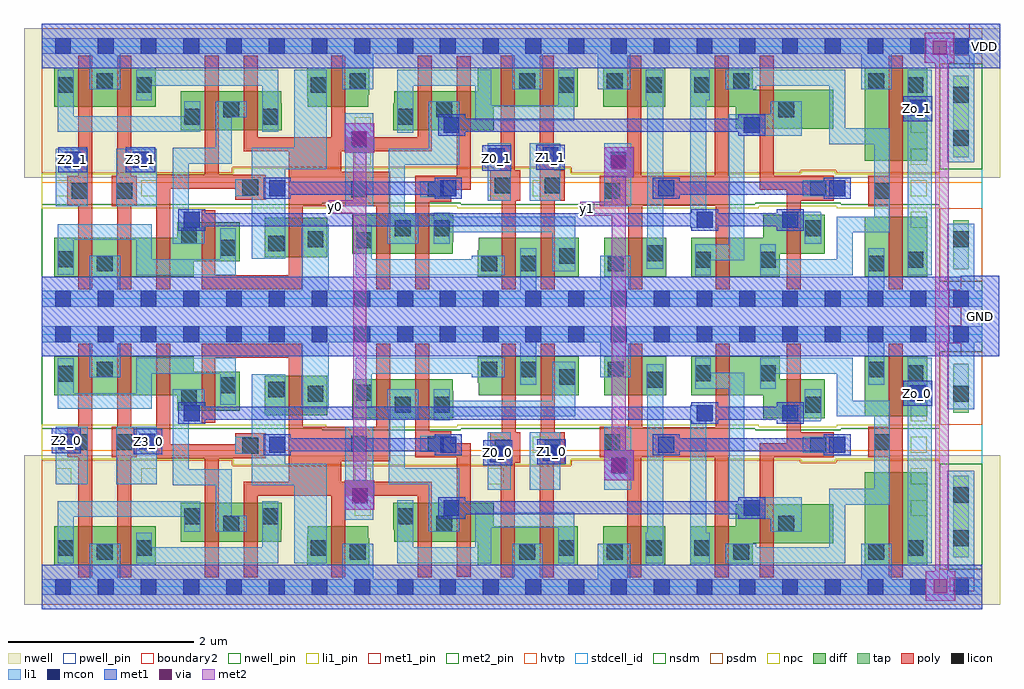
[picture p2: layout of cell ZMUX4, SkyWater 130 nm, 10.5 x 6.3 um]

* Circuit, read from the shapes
.subckt ZMUX4 GND VDD Z0_0 Z0_1 Z1_0 Z1_1 Z2_0 Z2_1 Z3_0 Z3_1 Zo_0 Zo_1 y0 y1
XM1 GND Z2_0 n1 GND sky130_fd_pr__nfet_01v8 w=0.42 l=0.15
XM2 GND Z2_1 n2 GND sky130_fd_pr__nfet_01v8 w=0.42 l=0.15
XM3 n3 Z3_0 GND GND sky130_fd_pr__nfet_01v8 w=0.42 l=0.15
XM4 n4 Z3_1 GND GND sky130_fd_pr__nfet_01v8 w=0.42 l=0.15
XM5 n5 n6 n3 GND sky130_fd_pr__nfet_01v8 w=0.42 l=0.15
XM6 n7 n8 n4 GND sky130_fd_pr__nfet_01v8 w=0.42 l=0.15
XM7 n1 y0 n5 GND sky130_fd_pr__nfet_01v8 w=0.42 l=0.15
XM8 n2 y0 n7 GND sky130_fd_pr__nfet_01v8 w=0.42 l=0.15
XM9 GND y0 n6 GND sky130_fd_pr__nfet_01v8 w=0.42 l=0.15
XM10 GND y0 n8 GND sky130_fd_pr__nfet_01v8 w=0.42 l=0.15
XM11 n9 y0 n10 GND sky130_fd_pr__nfet_01v8 w=0.42 l=0.15
XM12 n11 y0 n12 GND sky130_fd_pr__nfet_01v8 w=0.42 l=0.15
XM13 n13 n6 n9 GND sky130_fd_pr__nfet_01v8 w=0.42 l=0.15
XM14 n14 n8 n11 GND sky130_fd_pr__nfet_01v8 w=0.42 l=0.15
XM15 GND Z0_0 n10 GND sky130_fd_pr__nfet_01v8 w=0.42 l=0.15
XM16 GND Z0_1 n12 GND sky130_fd_pr__nfet_01v8 w=0.42 l=0.15
XM17 n13 Z1_0 GND GND sky130_fd_pr__nfet_01v8 w=0.42 l=0.15
XM18 n14 Z1_1 GND GND sky130_fd_pr__nfet_01v8 w=0.42 l=0.15
XM19 n15 y1 GND GND sky130_fd_pr__nfet_01v8 w=0.42 l=0.15
XM20 n16 y1 GND GND sky130_fd_pr__nfet_01v8 w=0.42 l=0.15
XM21 n17 y1 n9 GND sky130_fd_pr__nfet_01v8 w=0.42 l=0.15
XM22 n18 y1 n11 GND sky130_fd_pr__nfet_01v8 w=0.42 l=0.15
XM23 n5 n15 n17 GND sky130_fd_pr__nfet_01v8 w=0.42 l=0.15
XM24 n7 n16 n18 GND sky130_fd_pr__nfet_01v8 w=0.42 l=0.15
XM25 Zo_0 n17 GND GND sky130_fd_pr__nfet_01v8 w=0.65 l=0.15
XM26 Zo_1 n18 GND GND sky130_fd_pr__nfet_01v8 w=0.65 l=0.15
XM27 VDD Z2_0 n19 VDD sky130_fd_pr__pfet_01v8_hvt w=0.42 l=0.15
XM28 VDD Z2_1 n20 VDD sky130_fd_pr__pfet_01v8_hvt w=0.42 l=0.15
XM29 n21 Z3_0 VDD VDD sky130_fd_pr__pfet_01v8_hvt w=0.42 l=0.15
XM30 n22 Z3_1 VDD VDD sky130_fd_pr__pfet_01v8_hvt w=0.42 l=0.15
XM31 n5 n6 n19 VDD sky130_fd_pr__pfet_01v8_hvt w=0.42 l=0.15
XM32 n7 n8 n20 VDD sky130_fd_pr__pfet_01v8_hvt w=0.42 l=0.15
XM33 n21 y0 n5 VDD sky130_fd_pr__pfet_01v8_hvt w=0.42 l=0.15
XM34 n22 y0 n7 VDD sky130_fd_pr__pfet_01v8_hvt w=0.42 l=0.15
XM35 VDD y0 n6 VDD sky130_fd_pr__pfet_01v8_hvt w=0.42 l=0.15
XM36 VDD y0 n8 VDD sky130_fd_pr__pfet_01v8_hvt w=0.42 l=0.15
XM37 n9 y0 n23 VDD sky130_fd_pr__pfet_01v8_hvt w=0.42 l=0.15
XM38 n11 y0 n24 VDD sky130_fd_pr__pfet_01v8_hvt w=0.42 l=0.15
XM39 n25 n6 n9 VDD sky130_fd_pr__pfet_01v8_hvt w=0.42 l=0.15
XM40 n26 n8 n11 VDD sky130_fd_pr__pfet_01v8_hvt w=0.42 l=0.15
XM41 VDD Z0_0 n25 VDD sky130_fd_pr__pfet_01v8_hvt w=0.42 l=0.15
XM42 VDD Z0_1 n26 VDD sky130_fd_pr__pfet_01v8_hvt w=0.42 l=0.15
XM43 n23 Z1_0 VDD VDD sky130_fd_pr__pfet_01v8_hvt w=0.42 l=0.15
XM44 n24 Z1_1 VDD VDD sky130_fd_pr__pfet_01v8_hvt w=0.42 l=0.15
XM45 n15 y1 VDD VDD sky130_fd_pr__pfet_01v8_hvt w=0.42 l=0.15
XM46 n16 y1 VDD VDD sky130_fd_pr__pfet_01v8_hvt w=0.42 l=0.15
XM47 n17 y1 n5 VDD sky130_fd_pr__pfet_01v8_hvt w=0.42 l=0.15
XM48 n18 y1 n7 VDD sky130_fd_pr__pfet_01v8_hvt w=0.42 l=0.15
XM49 n9 n15 n17 VDD sky130_fd_pr__pfet_01v8_hvt w=0.42 l=0.15
XM50 n11 n16 n18 VDD sky130_fd_pr__pfet_01v8_hvt w=0.42 l=0.15
XM51 Zo_0 n17 VDD VDD sky130_fd_pr__pfet_01v8_hvt w=1 l=0.15
XM52 Zo_1 n18 VDD VDD sky130_fd_pr__pfet_01v8_hvt w=1 l=0.15
.ends

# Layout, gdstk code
import gdstk
lib = gdstk.Library(unit=1e-6, precision=1e-09)
def R(c, l, rs):  # rectangles x0, y0, x1, y1
    for r in rs: c.add(gdstk.rectangle(r[:2], r[2:], *l))
def A(c, l, x, y, w, h, nx, ny, dx, dy):  # array of equal rectangles
    R(c, l, [(x+i*dx, y+j*dy, x+i*dx+w, y+j*dy+h) for i in range(nx) for j in range(ny)])
def P(c, l, *ps):  # polygons
    for p in ps: c.add(gdstk.Polygon(p, *l))
nwell_pin = (64, 16)
nwell = (64, 20)
diff = (65, 20)
tap = (65, 44)
poly = (66, 20)
licon = (66, 44)
li1_pin = (67, 16)
li1 = (67, 20)
mcon = (67, 44)
met1_pin = (68, 16)
met1 = (68, 20)
via = (68, 44)
met2_pin = (69, 16)
met2 = (69, 20)
hvtp = (78, 44)
stdcell_id = (81, 4)
nsdm = (93, 44)
psdm = (94, 20)
npc = (95, 20)
pwell_pin = (122, 16)
boundary2 = (236, 0)

sky130_fd_sc_hd__tapvpwr = lib.new_cell('sky130_fd_sc_hd__tapvpwrvgnd_1')
R(sky130_fd_sc_hd__tapvpwr, nwell, [(-0.19,1.305,0.65,2.91)])
R(sky130_fd_sc_hd__tapvpwr, tap, [(0.145,0.32,0.315,0.845), (0.145,1.525,0.315,2.4)])
R(sky130_fd_sc_hd__tapvpwr, licon, [(0.145,0.555,0.315,0.725), (0.145,1.645,0.315,1.815), (0.145,2.11,0.315,2.28)])
R(sky130_fd_sc_hd__tapvpwr, li1, [(0,-0.085,0.46,0.085), (0.085,0,0.375,0.81), (0.085,1.47,0.375,2.72), (0,2.635,0.46,2.805)])
R(sky130_fd_sc_hd__tapvpwr, mcon, [(0.145,-0.085,0.315,0.085), (0.145,2.635,0.315,2.805)])
R(sky130_fd_sc_hd__tapvpwr, met1_pin, [(0.105,-0.09,0.36,0.1), (0.11,2.62,0.375,2.765)])
R(sky130_fd_sc_hd__tapvpwr, met1, [(0,-0.24,0.46,0.24), (0,2.48,0.46,2.96)])
R(sky130_fd_sc_hd__tapvpwr, hvtp, [(0,1.25,0.46,2.72)])
R(sky130_fd_sc_hd__tapvpwr, stdcell_id, [(0,0,0.46,2.72)])
R(sky130_fd_sc_hd__tapvpwr, nsdm, [(0,-0.19,0.46,0.19), (0,1.395,0.46,2.53)])
R(sky130_fd_sc_hd__tapvpwr, psdm, [(0,0.19,0.46,0.975), (0,2.53,0.46,2.91)])
sky130_fd_sc_hd__tapvpwr.add(gdstk.Label('VPWR', (0.23,2.72), layer=68, texttype=5))
sky130_fd_sc_hd__tapvpwr.add(gdstk.Label('VGND', (0.23,0), layer=68, texttype=5))
sky130_fd_sc_hd__tapvpwr.add(gdstk.Label('tapvpwrvgnd_1', (0,0), layer=83, texttype=44))

sky130_fd_sc_hd__mux4_1 = lib.new_cell('sky130_fd_sc_hd__mux4_1')
R(sky130_fd_sc_hd__mux4_1, nwell_pin, [(0.145,2.635,0.315,2.805)])
R(sky130_fd_sc_hd__mux4_1, nwell, [(-0.19,1.305,9.85,2.91)])
R(sky130_fd_sc_hd__mux4_1, diff, [(6.05,0.235,6.72,0.655), (8.855,0.235,9.525,0.885), (2.4,0.45,3.07,0.87), (8.855,1.485,9.525,2.485), (0.135,2.065,1.225,2.485), (6.04,2.065,6.71,2.485)])
P(sky130_fd_sc_hd__mux4_1, diff, [(2.13,0.825),(1.46,0.825),(1.46,0.655),(0.135,0.655),(0.135,0.235),(1.635,0.235),(1.635,0.405),(2.13,0.405)],
  [(2.585,2.105),(2.575,2.105),(2.575,2.235),(1.495,2.235),(1.495,1.815),(2.585,1.815)],
  [(3.525,2.485),(2.855,2.485),(2.855,2.155),(2.865,2.155),(2.865,2.065),(3.515,2.065),(3.515,2.195),(3.525,2.195)],
  [(4.43,0.905),(3.34,0.905),(3.34,0.485),(4.42,0.485),(4.42,0.61),(4.43,0.61)],
  [(5.77,2.485),(4.69,2.485),(4.69,2.235),(3.795,2.235),(3.795,2.105),(3.785,2.105),(3.785,1.815),(4.865,1.815),(4.865,2.065),(5.77,2.065)],
  [(5.78,0.655),(4.7,0.655),(4.7,0.525),(4.69,0.525),(4.69,0.235),(5.78,0.235)],
  [(8.425,0.905),(7.765,0.905),(7.765,0.655),(6.99,0.655),(6.99,0.235),(7.94,0.235),(7.94,0.485),(8.425,0.485)],
  [(8.515,2.25),(7.65,2.25),(7.65,2.485),(6.98,2.485),(6.98,2.065),(7.465,2.065),(7.465,1.83),(8.515,1.83)])
R(sky130_fd_sc_hd__mux4_1, poly, [(4.95,0.105,5.1,1.055), (5.37,0.105,5.52,1.055), (2.66,0.255,2.81,0.995), (5.36,1.055,5.63,1.385), (6.3,1.325,6.45,2.615), (7.24,1.325,7.39,2.615), (1.755,1.335,1.905,2.615), (5.36,1.385,5.51,2.615), (3.115,1.74,3.265,2.615)])
P(sky130_fd_sc_hd__mux4_1, poly, [(0.545,2.615),(0.395,2.615),(0.395,1.325),(0.275,1.325),(0.275,0.995),(0.395,0.995),(0.395,0.105),(0.545,0.105)],
  [(1.025,1.325),(0.965,1.325),(0.965,2.615),(0.815,2.615),(0.815,1.325),(0.755,1.325),(0.755,0.995),(0.815,0.995),(0.815,0.105),(0.965,0.105),(0.965,0.995),(1.025,0.995)],
  [(2.41,1.335),(1.235,1.335),(1.235,0.105),(1.385,0.105),(1.385,1.185),(2.08,1.185),(2.08,1.065),(2.41,1.065)],
  [(4.195,2.615),(4.045,2.615),(4.045,1.74),(2.325,1.74),(2.325,2.615),(2.175,2.615),(2.175,1.59),(2.66,1.59),(2.66,0.995),(3.6,0.995),(3.6,0.105),(3.75,0.105),(3.75,1.365),(3.225,1.365),(3.225,1.59),(4.195,1.59)],
  [(4.615,2.61),(4.465,2.61),(4.465,1.325),(4.02,1.325),(4.02,0.105),(4.17,0.105),(4.17,1.045),(4.405,1.045),(4.405,1.175),(4.615,1.175)],
  [(9.265,2.615),(9.115,2.615),(9.115,1.325),(8.895,1.325),(8.895,0.995),(9.115,0.995),(9.115,0.105),(9.265,0.105)],
  [(7.4,1.325),(6.005,1.325),(6.005,0.995),(6.31,0.995),(6.31,0.105),(6.46,0.105),(6.46,1),(7.25,1),(7.25,0.105),(7.4,0.105)],
  [(8.52,1.325),(7.875,1.325),(7.875,2.615),(7.725,2.615),(7.725,1.175),(8.015,1.175),(8.015,0.105),(8.165,0.105),(8.165,1.055),(8.52,1.055)],
  [(2.81,0.255),(1.87,0.255),(1.87,0.955),(1.72,0.955),(1.72,0.105),(2.81,0.105)],
  [(5.15,1.385),(5.09,1.385),(5.09,2.615),(4.94,2.615),(4.94,1.385),(4.825,1.385),(4.825,1.055),(5.15,1.055)])
R(sky130_fd_sc_hd__mux4_1, licon, [(0.595,0.295,0.765,0.465), (4.73,0.295,4.9,0.465), (5.15,0.295,5.32,0.465), (6.09,0.295,6.26,0.465), (8.895,0.295,9.065,0.465), (7.03,0.335,7.2,0.505), (7.73,0.335,7.9,0.505), (9.315,0.335,9.485,0.505), (0.175,0.34,0.345,0.51), (5.57,0.375,5.74,0.545), (6.51,0.405,6.68,0.575), (1.92,0.465,2.09,0.635), (2.44,0.51,2.61,0.68), (3.38,0.545,3.55,0.715), (2.86,0.555,3.03,0.725), (1.5,0.595,1.67,0.765), (3.8,0.675,3.97,0.845), (4.22,0.675,4.39,0.845), (8.215,0.675,8.385,0.845), (0.325,1.075,0.495,1.245), (0.805,1.075,0.975,1.245), (6.055,1.075,6.225,1.245), (8.955,1.075,9.125,1.245), (3.33,1.095,3.5,1.265), (4.155,1.095,4.325,1.265), (8.27,1.105,8.44,1.275), (2.16,1.115,2.33,1.285), (4.875,1.135,5.045,1.305), (5.41,1.135,5.58,1.305), (1.535,1.875,1.705,2.045), (2.375,1.875,2.545,2.045), (3.825,1.875,3.995,2.045), (1.955,1.955,2.125,2.125), (4.245,1.955,4.415,2.125), (7.925,1.955,8.095,2.125), (0.175,2.215,0.345,2.385), (1.015,2.215,1.185,2.385), (2.895,2.215,3.065,2.385), (5.56,2.215,5.73,2.385), (6.5,2.215,6.67,2.385), (7.02,2.215,7.19,2.385), (9.315,2.215,9.485,2.385), (0.595,2.255,0.765,2.425), (3.315,2.255,3.485,2.425), (5.14,2.255,5.31,2.425), (6.08,2.255,6.25,2.425), (7.44,2.255,7.61,2.425), (8.895,2.255,9.065,2.425)])
A(sky130_fd_sc_hd__mux4_1, li1_pin, 9.35, 0.765, 0.17, 0.17, 1, 4, 0, 0.34)
R(sky130_fd_sc_hd__mux4_1, li1_pin, [(0.15,1.105,0.32,1.275), (1.07,1.105,1.24,1.275), (4.8,1.105,4.97,1.275), (5.285,1.105,5.455,1.275), (6.175,1.105,6.345,1.275), (0.15,1.445,0.32,1.615), (1.07,1.445,1.24,1.615), (3.37,1.445,3.54,1.615), (4.8,1.445,4.97,1.615), (3.37,1.785,3.54,1.955)])
R(sky130_fd_sc_hd__mux4_1, li1, [(9.315,0.255,9.575,2.465), (0.15,0.995,0.495,1.615), (0.805,0.995,1.24,1.615), (3.265,0.995,3.565,1.995), (6.055,0.995,6.345,1.675), (4.8,1.055,5.045,1.675), (5.25,1.055,5.58,1.675), (8.19,1.105,8.645,1.275)])
P(sky130_fd_sc_hd__mux4_1, li1, [(6.805,1.275),(6.685,1.275),(6.685,2.465),(6.5,2.465),(6.5,2.135),(6.515,2.135),(6.515,0.655),(6.51,0.655),(6.51,0.325),(6.685,0.325),(6.685,1.105),(6.805,1.105)],
  [(7.22,0.935),(7.15,0.935),(7.15,2.135),(7.19,2.135),(7.19,2.465),(6.98,2.465),(6.98,0.765),(7.22,0.765)],
  [(8.175,2.125),(7.845,2.125),(7.845,1.985),(7.39,1.985),(7.39,0.585),(7.03,0.585),(7.03,0.255),(7.2,0.255),(7.2,0.415),(7.56,0.415),(7.56,1.755),(8.175,1.755)],
  [(2.545,2.465),(1.015,2.465),(1.015,2.135),(1.185,2.135),(1.185,2.295),(2.375,2.295),(2.375,1.795),(2.545,1.795)],
  [(8.385,0.925),(8.38,0.925),(8.38,0.935),(7.97,0.935),(7.97,0.765),(8.21,0.765),(8.21,0.595),(8.385,0.595)],
  [(9.125,1.835),(8.645,1.835),(8.645,2.465),(7.36,2.465),(7.36,2.255),(7.69,2.255),(7.69,2.295),(8.475,2.295),(8.475,1.665),(8.955,1.665),(8.955,0.885),(8.555,0.885),(8.555,0.425),(7.9,0.425),(7.9,0.585),(7.73,0.585),(7.73,0.255),(8.725,0.255),(8.725,0.715),(9.125,0.715)],
  [(1.705,2.125),(1.535,2.125),(1.535,1.965),(0.345,1.965),(0.345,2.465),(0.175,2.465),(0.175,1.795),(1.705,1.795)],
  [(9.66,2.805),(0,2.805),(0,2.635),(0.515,2.635),(0.515,2.255),(0.845,2.255),(0.845,2.635),(3.235,2.635),(3.235,2.255),(3.565,2.255),(3.565,2.635),(5.06,2.635),(5.06,2.255),(5.39,2.255),(5.39,2.635),(5.98,2.635),(5.98,2.255),(6.33,2.255),(6.33,2.635),(8.815,2.635),(8.815,2.255),(9.145,2.255),(9.145,2.635),(9.66,2.635)],
  [(5.74,0.885),(4.39,0.885),(4.39,0.925),(4.22,0.925),(4.22,0.595),(4.39,0.595),(4.39,0.715),(5.495,0.715),(5.495,0.295),(5.74,0.295)],
  [(5.73,2.465),(5.56,2.465),(5.56,2.085),(4.835,2.085),(4.835,2.465),(3.825,2.465),(3.825,1.785),(3.995,1.785),(3.995,2.295),(4.665,2.295),(4.665,1.915),(5.73,1.915)],
  [(4.495,2.125),(4.165,2.125),(4.165,1.615),(3.735,1.615),(3.735,0.845),(3.72,0.845),(3.72,0.595),(4.05,0.595),(4.05,0.92),(3.905,0.92),(3.905,1.445),(4.495,1.445)],
  [(4.46,1.275),(4.29,1.275),(4.29,1.265),(4.075,1.265),(4.075,1.095),(4.405,1.095),(4.405,1.105),(4.46,1.105)],
  [(4.98,0.465),(4.625,0.465),(4.625,0.425),(3.55,0.425),(3.55,0.795),(3.38,0.795),(3.38,0.255),(4.98,0.255)],
  [(2.09,0.76),(1.92,0.76),(1.92,0.425),(1.185,0.425),(1.185,0.805),(0.175,0.805),(0.175,0.26),(0.345,0.26),(0.345,0.635),(1.015,0.635),(1.015,0.255),(2.09,0.255)],
  [(2.205,2.125),(1.875,2.125),(1.875,1.625),(1.41,1.625),(1.41,0.595),(1.75,0.595),(1.75,0.765),(1.7,0.765),(1.7,0.935),(1.58,0.935),(1.58,1.455),(2.045,1.455),(2.045,1.955),(2.205,1.955)],
  [(3.065,2.465),(2.715,2.465),(2.715,1.625),(2.26,1.625),(2.26,1.285),(2.08,1.285),(2.08,1.105),(2.26,1.105),(2.26,0.43),(2.62,0.43),(2.62,1.395),(3.065,1.395)],
  [(9.66,0.085),(9.065,0.085),(9.065,0.545),(8.895,0.545),(8.895,0.085),(6.34,0.085),(6.34,0.465),(6.01,0.465),(6.01,0.085),(5.32,0.085),(5.32,0.545),(5.15,0.545),(5.15,0.085),(3.09,0.085),(3.09,0.805),(2.8,0.805),(2.8,0.085),(0.845,0.085),(0.845,0.465),(0.515,0.465),(0.515,0.085),(0,0.085),(0,-0.085),(9.66,-0.085)])
A(sky130_fd_sc_hd__mux4_1, mcon, 0.145, -0.085, 0.17, 0.17, 21, 2, 0.46, 2.72)
R(sky130_fd_sc_hd__mux4_1, mcon, [(1.53,0.765,1.7,0.935), (7.05,0.765,7.22,0.935), (7.97,0.765,8.14,0.935), (2.45,1.105,2.62,1.275), (4.29,1.105,4.46,1.275), (6.635,1.105,6.805,1.275), (8.475,1.105,8.645,1.275), (4.325,1.785,4.495,1.955), (7.555,1.785,7.725,1.955)])
R(sky130_fd_sc_hd__mux4_1, met1_pin, [(0.145,-0.085,0.315,0.085), (0.145,2.635,0.315,2.805)])
P(sky130_fd_sc_hd__mux4_1, met1, [(4.52,1.305),(4.23,1.305),(4.23,1.26),(2.68,1.26),(2.68,1.305),(2.39,1.305),(2.39,1.075),(2.68,1.075),(2.68,1.12),(4.23,1.12),(4.23,1.075),(4.52,1.075)],
  [(7.785,1.985),(7.495,1.985),(7.495,1.94),(4.555,1.94),(4.555,1.985),(4.265,1.985),(4.265,1.755),(4.555,1.755),(4.555,1.8),(7.495,1.8),(7.495,1.755),(7.785,1.755)],
  [(8.705,1.305),(8.415,1.305),(8.415,1.26),(6.865,1.26),(6.865,1.305),(6.575,1.305),(6.575,1.075),(6.865,1.075),(6.865,1.12),(8.415,1.12),(8.415,1.075),(8.705,1.075)],
  [(8.2,0.965),(7.91,0.965),(7.91,0.92),(7.28,0.92),(7.28,0.965),(6.99,0.965),(6.99,0.92),(1.76,0.92),(1.76,0.965),(1.47,0.965),(1.47,0.735),(1.76,0.735),(1.76,0.78),(6.99,0.78),(6.99,0.735),(7.28,0.735),(7.28,0.78),(7.91,0.78),(7.91,0.735),(8.2,0.735)])
R(sky130_fd_sc_hd__mux4_1, hvtp, [(0,1.25,9.66,2.72)])
R(sky130_fd_sc_hd__mux4_1, stdcell_id, [(0,0,9.66,2.72)])
P(sky130_fd_sc_hd__mux4_1, nsdm, [(9.66,1.015),(8.595,1.015),(8.595,1.035),(7.675,1.035),(7.675,1.015),(4.51,1.015),(4.51,1.035),(3.02,1.035),(3.02,1.015),(0,1.015),(0,-0.19),(9.66,-0.19)])
P(sky130_fd_sc_hd__mux4_1, psdm, [(9.66,2.91),(0,2.91),(0,1.355),(2.05,1.355),(2.05,1.415),(5.7,1.415),(5.7,1.355),(8.16,1.355),(8.16,1.385),(8.55,1.385),(8.55,1.355),(9.66,1.355)])
P(sky130_fd_sc_hd__mux4_1, npc, [(9.66,1.345),(8.54,1.345),(8.54,1.375),(8.17,1.375),(8.17,1.345),(5.69,1.345),(5.69,1.405),(2.06,1.405),(2.06,1.345),(0,1.345),(0,0.975),(3.06,0.975),(3.06,0.995),(4.47,0.995),(4.47,0.975),(7.715,0.975),(7.715,0.995),(8.555,0.995),(8.555,0.975),(9.66,0.975)])
R(sky130_fd_sc_hd__mux4_1, pwell_pin, [(0.145,-0.085,0.315,0.085)])
R(sky130_fd_sc_hd__mux4_1, boundary2, [(0,0,9.66,2.72)])
sky130_fd_sc_hd__mux4_1.add(gdstk.FlexPath([(0,2.72),(9.66,2.72)], 0.48, ends="flush", simple_path=True, layer=68, datatype=20))  # met1
sky130_fd_sc_hd__mux4_1.add(gdstk.FlexPath([(0,0),(9.66,0)], 0.48, ends="flush", simple_path=True, layer=68, datatype=20))  # met1
sky130_fd_sc_hd__mux4_1.add(gdstk.Label('S0', (3.455,1.53), layer=67, texttype=5))
sky130_fd_sc_hd__mux4_1.add(gdstk.Label('A1', (0.235,1.19), layer=67, texttype=5))
sky130_fd_sc_hd__mux4_1.add(gdstk.Label('X', (9.435,1.19), layer=67, texttype=5))
sky130_fd_sc_hd__mux4_1.add(gdstk.Label('X', (9.435,1.53), layer=67, texttype=5))
sky130_fd_sc_hd__mux4_1.add(gdstk.Label('X', (9.435,1.87), layer=67, texttype=5))
sky130_fd_sc_hd__mux4_1.add(gdstk.Label('S1', (6.26,1.19), layer=67, texttype=5))
sky130_fd_sc_hd__mux4_1.add(gdstk.Label('A2', (5.37,1.19), layer=67, texttype=5))
sky130_fd_sc_hd__mux4_1.add(gdstk.Label('A1', (0.235,1.53), layer=67, texttype=5))
sky130_fd_sc_hd__mux4_1.add(gdstk.Label('A0', (1.155,1.53), layer=67, texttype=5))
sky130_fd_sc_hd__mux4_1.add(gdstk.Label('A0', (1.155,1.19), layer=67, texttype=5))
sky130_fd_sc_hd__mux4_1.add(gdstk.Label('X', (9.435,0.85), layer=67, texttype=5))
sky130_fd_sc_hd__mux4_1.add(gdstk.Label('A3', (4.885,1.19), layer=67, texttype=5))
sky130_fd_sc_hd__mux4_1.add(gdstk.Label('VNB', (0.23,0), layer=64, texttype=59))
sky130_fd_sc_hd__mux4_1.add(gdstk.Label('VPB', (0.23,2.72), layer=64, texttype=5))
sky130_fd_sc_hd__mux4_1.add(gdstk.Label('VGND', (0.225,0), layer=68, texttype=5))
sky130_fd_sc_hd__mux4_1.add(gdstk.Label('VPWR', (0.23,2.72), layer=68, texttype=5))
sky130_fd_sc_hd__mux4_1.add(gdstk.Label('mux4_1', (0,0), layer=83, texttype=44))

zmux4 = lib.new_cell('ZMUX4')
R(zmux4, li1, [(3.04,-2.38,3.21,-2.21), (5.83,-2.06,6,-1.89), (4.52,-1.93,4.69,-1.76), (5.09,-1.92,5.26,-1.75), (-0.12,-1.8,0.05,-1.63), (0.75,-1.8,0.92,-1.63), (9.04,-1.28,9.21,-1.11), (-0.05,1.23,0.12,1.4), (0.68,1.23,0.85,1.4), (5.82,1.23,5.99,1.4), (4.51,1.27,4.68,1.44), (5.09,1.28,5.26,1.45), (3.03,1.45,3.2,1.62), (9.04,1.79,9.21,1.96)])
R(zmux4, mcon, [(3.04,-2.38,3.21,-2.21), (5.83,-2.06,6,-1.89), (4.52,-1.93,4.69,-1.76), (5.09,-1.92,5.26,-1.75), (-0.12,-1.8,0.05,-1.63), (0.75,-1.8,0.92,-1.63), (9.04,-1.28,9.21,-1.11), (-0.05,1.23,0.12,1.4), (0.68,1.23,0.85,1.4), (5.82,1.23,5.99,1.4), (4.51,1.27,4.68,1.44), (5.09,1.28,5.26,1.45), (3.03,1.45,3.2,1.62), (9.04,1.79,9.21,1.96)])
R(zmux4, met1_pin, [(4.45,-1.97,4.76,-1.7), (5.03,-1.96,5.34,-1.69), (0.69,-1.85,1,-1.58), (-0.19,-1.84,0.12,-1.57), (8.97,-1.33,9.28,-1.06), (9.59,-0.8,10,0.07), (-0.12,1.18,0.19,1.45), (0.605,1.18,0.92,1.45), (4.44,1.2,4.75,1.47), (5.02,1.21,5.33,1.48), (8.97,1.73,9.28,2), (9.68,2.3,10.01,2.78)])
R(zmux4, met1, [(9.24,-3.4,9.5,-3.14), (2.96,-2.45,3.28,-2.13), (5.75,-2.13,6.07,-1.81), (4.45,-1.97,4.76,-1.7), (5.03,-1.96,5.34,-1.69), (0.69,-1.85,1,-1.58), (-0.19,-1.84,0.12,-1.57), (8.97,-1.33,9.28,-1.06), (9.59,-0.8,10,0.07), (5.75,1.13,6.07,1.45), (-0.12,1.18,0.19,1.45), (0.605,1.18,0.92,1.45), (4.44,1.2,4.75,1.47), (5.02,1.21,5.33,1.48), (2.96,1.39,3.28,1.71), (8.97,1.73,9.28,2), (9.68,2.3,10.01,2.78), (9.23,2.39,9.49,2.65)])
R(zmux4, via, [(9.295,-3.345,9.445,-3.195), (3.045,-2.365,3.195,-2.215), (5.835,-2.045,5.985,-1.895), (5.835,1.215,5.985,1.365), (3.045,1.475,3.195,1.625), (9.285,2.445,9.435,2.595)])
R(zmux4, met2_pin, [(5.495,0.715,5.645,0.865), (2.79,0.74,2.93,0.88)])
R(zmux4, met2, [(9.21,-3.43,9.53,-3.11), (9.315,-3.11,9.46,2.36), (2.96,-2.45,3.28,-2.13), (3.05,-2.13,3.19,0.74), (5.75,-2.13,6.07,-1.81), (5.835,-1.81,5.985,0.715), (5.495,0.715,5.985,0.865), (2.79,0.74,3.19,0.88), (5.835,0.865,5.985,1.13), (3.05,0.88,3.19,1.39), (5.75,1.13,6.07,1.45), (2.96,1.39,3.28,1.71), (9.2,2.36,9.52,2.68)])
zmux4.add(gdstk.Reference(sky130_fd_sc_hd__tapvpwr, (9.36,-0.56), x_reflection=True))
zmux4.add(gdstk.Reference(sky130_fd_sc_hd__tapvpwr, (9.36,-0.18)))
zmux4.add(gdstk.Reference(sky130_fd_sc_hd__mux4_1, (-0.3,-0.56), x_reflection=True))
zmux4.add(gdstk.Reference(sky130_fd_sc_hd__mux4_1, (-0.3,-0.18)))
zmux4.add(gdstk.Label('VDD', (9.845,2.54), layer=68, texttype=5))
zmux4.add(gdstk.Label('GND', (9.795,-0.365), layer=68, texttype=5))
zmux4.add(gdstk.Label('Z3_1', (0.762,1.315), layer=68, texttype=5))
zmux4.add(gdstk.Label('Z2_1', (0.035,1.315), layer=68, texttype=5))
zmux4.add(gdstk.Label('Z1_1', (5.175,1.345), layer=68, texttype=5))
zmux4.add(gdstk.Label('Z0_1', (4.595,1.335), layer=68, texttype=5))
zmux4.add(gdstk.Label('y1', (5.57,0.79), layer=69, texttype=5))
zmux4.add(gdstk.Label('y0', (2.86,0.81), layer=69, texttype=5))
zmux4.add(gdstk.Label('Z3_0', (0.845,-1.715), layer=68, texttype=5))
zmux4.add(gdstk.Label('Z2_0', (-0.035,-1.705), layer=68, texttype=5))
zmux4.add(gdstk.Label('Z1_0', (5.185,-1.825), layer=68, texttype=5))
zmux4.add(gdstk.Label('Z0_0', (4.605,-1.835), layer=68, texttype=5))
zmux4.add(gdstk.Label('Zo_1', (9.125,1.865), layer=68, texttype=5))
zmux4.add(gdstk.Label('Zo_0', (9.125,-1.195), layer=68, texttype=5))

lib.write_gds('ZMUX4.gds')
